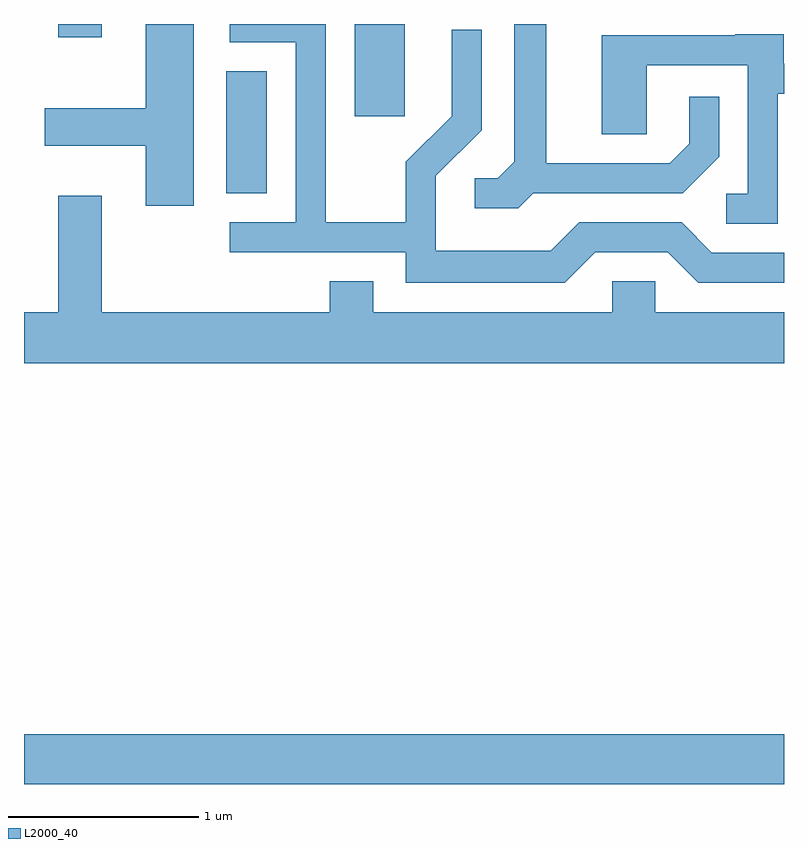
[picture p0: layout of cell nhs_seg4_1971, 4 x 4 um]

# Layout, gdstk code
import gdstk
lib = gdstk.Library(unit=1e-6, precision=1e-09)
def R(c, l, rs):  # rectangles x0, y0, x1, y1
    for r in rs: c.add(gdstk.rectangle(r[:2], r[2:], *l))
def P(c, l, *ps):  # polygons
    for p in ps: c.add(gdstk.Polygon(p, *l))
L2000_40 = (2000, 40)

nhs_seg4_1971 = lib.new_cell('nhs_seg4_1971')
R(nhs_seg4_1971, L2000_40, [(241.611,1387.982,245.611,1388.244), (242.676,1391.091,242.889,1391.734), (243.351,1391.496,243.614,1391.982), (241.791,1391.911,242.019,1391.982)])
P(nhs_seg4_1971, L2000_40, [(242.504,1391.982),(242.251,1391.982),(242.251,1391.539),(241.721,1391.539),(241.721,1391.341),(242.251,1391.341),(242.251,1391.026),(242.504,1391.026)],
  [(244.292,1391.091),(245.077,1391.091),(245.269,1391.284),(245.269,1391.598),(245.111,1391.598),(245.111,1391.352),(245.009,1391.249),(244.359,1391.249),(244.359,1391.982),(244.191,1391.982),(244.191,1391.257),(244.104,1391.169),(243.983,1391.169),(243.983,1391.011),(244.212,1391.011)],
  [(244.617,1390.781),(244.999,1390.781),(245.159,1390.621),(245.611,1390.621),(245.611,1390.779),(245.232,1390.779),(245.072,1390.939),(244.534,1390.939),(244.384,1390.789),(243.779,1390.789),(243.779,1391.184),(244.019,1391.424),(244.019,1391.953),(243.861,1391.953),(243.861,1391.497),(243.621,1391.257),(243.621,1390.939),(243.199,1390.939),(243.199,1391.982),(242.693,1391.982),(242.693,1391.886),(243.041,1391.886),(243.041,1390.939),(242.693,1390.939),(242.693,1390.781),(243.621,1390.781),(243.621,1390.621),(244.457,1390.621)],
  [(245.579,1391.616),(245.611,1391.616),(245.611,1391.774),(245.609,1391.774),(245.609,1391.929),(245.355,1391.929),(245.355,1391.924),(244.651,1391.924),(244.651,1391.401),(244.889,1391.401),(244.889,1391.766),(245.421,1391.766),(245.421,1391.089),(245.308,1391.089),(245.308,1390.931),(245.579,1390.931)],
  [(245.611,1390.464),(244.934,1390.464),(244.934,1390.629),(244.706,1390.629),(244.706,1390.464),(243.449,1390.464),(243.449,1390.629),(243.221,1390.629),(243.221,1390.464),(242.019,1390.464),(242.019,1391.079),(241.791,1391.079),(241.791,1390.464),(241.611,1390.464),(241.611,1390.196),(245.611,1390.196)])

lib.write_gds('nhs_seg4_1971.gds')
